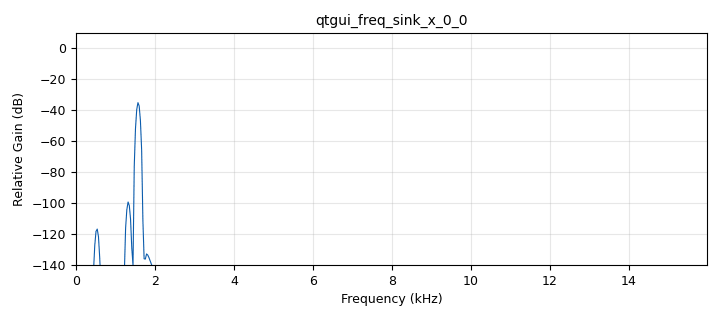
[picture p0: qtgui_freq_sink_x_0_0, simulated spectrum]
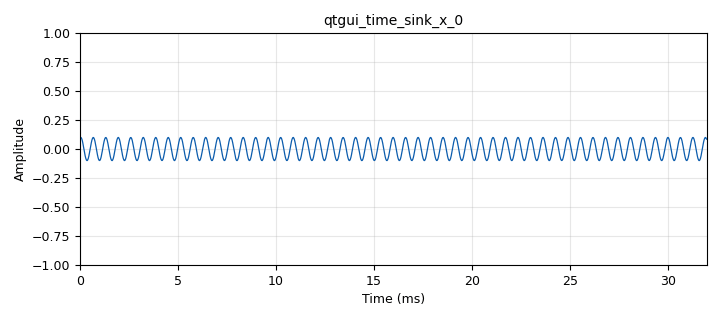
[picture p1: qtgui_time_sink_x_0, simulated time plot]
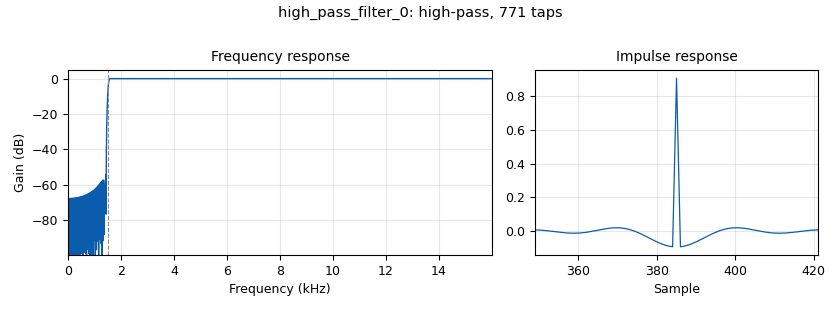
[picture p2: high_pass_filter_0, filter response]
options:
  parameters:
    category: Custom
    generate_options: qt_gui
    id: top_block
    output_language: python
  states: {}

blocks:
- name: cutoff
  id: variable_qtgui_entry
  parameters:
    comment: cutoff val already set
    type: real
    value: '1500'
  states: {}
- name: samp_rate
  id: variable
  parameters:
    value: '32000'
  states: {}
- name: transition_width
  id: variable_qtgui_entry
  parameters:
    type: real
    value: '100'
  states: {}
- name: analog_sig_source_x_0
  id: analog_sig_source_x
  parameters:
    amp: '0.1'
    comment: C5
    freq: '523.25'
    offset: '0'
    phase: '0'
    samp_rate: samp_rate
    type: float
    waveform: analog.GR_COS_WAVE
  states: {}
- name: analog_sig_source_x_0_0
  id: analog_sig_source_x
  parameters:
    amp: '0.1'
    comment: G6
    freq: '1568'
    offset: '0'
    phase: '0'
    samp_rate: samp_rate
    type: float
    waveform: analog.GR_COS_WAVE
  states: {}
- name: analog_sig_source_x_0_1
  id: analog_sig_source_x
  parameters:
    amp: '0.1'
    comment: E6
    freq: '1318.5'
    offset: '0'
    phase: '0'
    samp_rate: samp_rate
    type: float
    waveform: analog.GR_COS_WAVE
  states: {}
- name: audio_sink_0
  id: audio_sink
  parameters:
    samp_rate: samp_rate
  states: {}
- name: blocks_add_xx_0
  id: blocks_add_xx
  parameters:
    num_inputs: '3'
    type: float
  states: {}
- name: high_pass_filter_0
  id: high_pass_filter
  parameters:
    cutoff_freq: cutoff
    decim: '1'
    gain: '1'
    samp_rate: samp_rate
    type: fir_filter_fff
    width: transition_width
    win: window.WIN_HAMMING
  states: {}
- name: qtgui_freq_sink_x_0_0
  id: qtgui_freq_sink_x
  parameters:
    bw: samp_rate
    fc: '0'
    fftsize: '1024'
    freqhalf: 'False'
    name: ''
    type: float
  states: {}
- name: qtgui_time_sink_x_0
  id: qtgui_time_sink_x
  parameters:
    size: '1024'
    srate: samp_rate
    type: float
  states: {}

connections:
- [analog_sig_source_x_0, '0', blocks_add_xx_0, '0']
- [analog_sig_source_x_0_0, '0', blocks_add_xx_0, '2']
- [analog_sig_source_x_0_1, '0', blocks_add_xx_0, '1']
- [blocks_add_xx_0, '0', high_pass_filter_0, '0']
- [high_pass_filter_0, '0', audio_sink_0, '0']
- [high_pass_filter_0, '0', qtgui_freq_sink_x_0_0, '0']
- [high_pass_filter_0, '0', qtgui_time_sink_x_0, '0']

metadata:
  file_format: 1
  grc_version: 3.10.9.2
